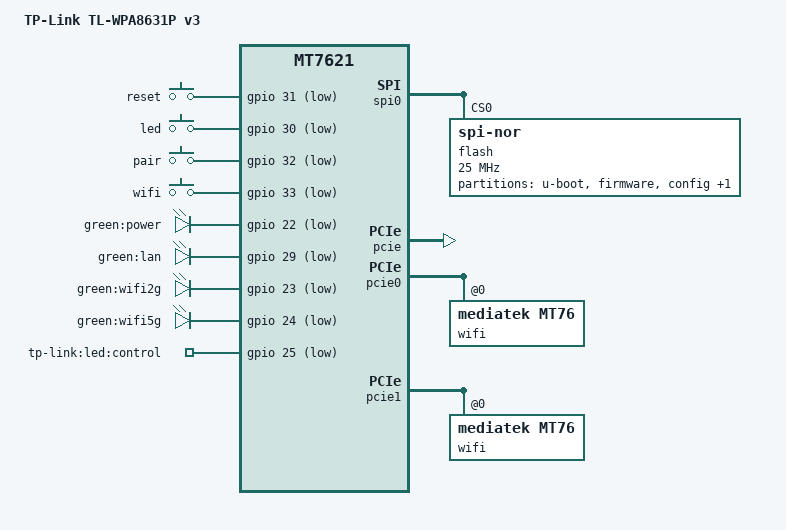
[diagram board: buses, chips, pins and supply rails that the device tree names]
// SPDX-License-Identifier: GPL-2.0-or-later OR MIT

#include "mt7621.dtsi"

#include <dt-bindings/gpio/gpio.h>
#include <dt-bindings/input/input.h>

/ {
	compatible = "tplink,tl-wpa8631p-v3", "mediatek,mt7621-soc";
	model = "TP-Link TL-WPA8631P v3";

	aliases {
		label-mac-device = &gmac0;
		led-boot = &led_power;
		led-failsafe = &led_power;
		led-running = &led_power;
		led-upgrade = &led_power;
	};

	keys {
		compatible = "gpio-keys";

		reset {
			label = "reset";
			linux,code = <KEY_RESTART>;
			gpios = <&gpio 31 GPIO_ACTIVE_LOW>;
			debounce-interval = <60>;
		};

		led {
			label = "led";
			linux,code = <KEY_LIGHTS_TOGGLE>;
			gpios = <&gpio 30 GPIO_ACTIVE_LOW>;
			debounce-interval = <60>;
		};

		pair {
			label = "pair";
			linux,code = <BTN_1>;
			gpios = <&gpio 32 GPIO_ACTIVE_LOW>;
			debounce-interval = <60>;
		};

		wifi {
			label = "wifi";
			linux,code = <KEY_RFKILL>;
			gpios = <&gpio 33 GPIO_ACTIVE_LOW>;
			debounce-interval = <60>;
		};
	};

	leds {
		compatible = "gpio-leds";

		led_power: power {
			label = "green:power";
			gpios = <&gpio 22 GPIO_ACTIVE_LOW>;
		};

		lan {
			label = "green:lan";
			gpios = <&gpio 29 GPIO_ACTIVE_LOW>;
		};

		wifi2g {
			label = "green:wifi2g";
			gpios = <&gpio 23 GPIO_ACTIVE_LOW>;
			linux,default-trigger = "phy0tpt";
		};

		wifi5g {
			label = "green:wifi5g";
			gpios = <&gpio 24 GPIO_ACTIVE_LOW>;
			linux,default-trigger = "phy1tpt";
		};
	};

	gpio-export {
		compatible = "gpio-export";

		led_control {
			gpio-export,name = "tp-link:led:control";
			gpio-export,output = <0>;
			gpios = <&gpio 25 GPIO_ACTIVE_LOW>;
		};
	};
};

&spi0 {
	status = "okay";

	flash@0 {
		compatible = "jedec,spi-nor";
		reg = <0>;
		spi-max-frequency = <25000000>;

		partitions {
			compatible = "fixed-partitions";
			#address-cells = <1>;
			#size-cells = <1>;

			partition@0 {
				label = "u-boot";
				reg = <0x0 0x20000>;
				read-only;
			};

			partition@20000 {
				compatible = "tplink,firmware";
				label = "firmware";
				reg = <0x20000 0x710000>;
			};

			config: partition@730000 {
				label = "config";
				reg = <0x730000 0xc0000>;
				read-only;
			};

			radio: partition@7f0000 {
				label = "radio";
				reg = <0x7f0000 0x10000>;
				read-only;
			};
		};
	};
};

&state_default {
	gpio {
		groups = "rgmii2", "wdt";
		function = "gpio";
	};
};

&pcie {
	status = "okay";
};

&pcie0 {
	wifi@0,0 {
		compatible = "mediatek,mt76";
		reg = <0x0000 0 0 0 0>;
		mediatek,mtd-eeprom = <&radio 0x0>;
		nvmem-cells = <&macaddr_config_2008>;
		nvmem-cell-names = "mac-address";
		ieee80211-freq-limit = <2400000 2500000>;
	};
};

&pcie1 {
	wifi@0,0 {
		compatible = "mediatek,mt76";
		reg = <0x0000 0 0 0 0>;
		mediatek,mtd-eeprom = <&radio 0x8000>;
		nvmem-cells = <&macaddr_config_2008>;
		nvmem-cell-names = "mac-address";
		mac-address-increment = <1>;
		ieee80211-freq-limit = <5000000 6000000>;
	};
};

&ethernet {
	pinctrl-0 = <&mdio_pins>, <&rgmii1_pins>;
};

&gmac0 {
	nvmem-cells = <&macaddr_config_2008>;
	nvmem-cell-names = "mac-address";
};

&switch0 {
	ports {
		port@0 {
			status = "okay";
			label = "plc0";
		};

		port@1 {
			status = "okay";
			label = "lan1";
		};

		port@2 {
			status = "okay";
			label = "lan2";
		};

		port@3 {
			status = "okay";
			label = "lan3";
		};
	};
};

&config {
	compatible = "nvmem-cells";
	#address-cells = <1>;
	#size-cells = <1>;

	macaddr_config_2008: macaddr@2008 {
		reg = <0x2008 0x6>;
	};
};
